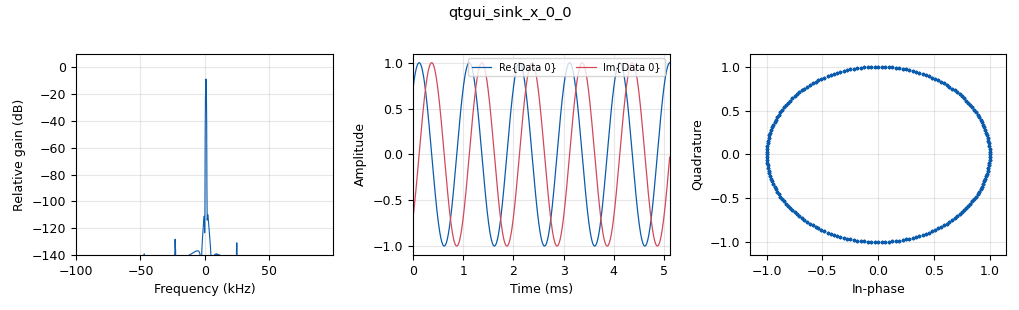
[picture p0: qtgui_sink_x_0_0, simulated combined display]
options:
  parameters:
    generate_options: qt_gui
    id: signal_source
    output_language: python
    title: signal_source
  states: {}

blocks:
- name: samp_rate
  id: variable
  parameters:
    value: 200e3
  states: {}
- name: var_freq
  id: variable_qtgui_range
  parameters:
    start: '-200e3'
    step: '1'
    stop: 200e3
    value: 1e3
  states: {}
- name: volume
  id: variable_qtgui_range
  parameters:
    start: '0'
    step: '0.01'
    stop: '1'
    value: '0.2'
  states: {}
- name: analog_const_source_x_0
  id: analog_const_source_x
  parameters:
    const: volume
    type: float
  states: {}
- name: analog_sig_source_x_0
  id: analog_sig_source_x
  parameters:
    amp: '1'
    freq: var_freq
    offset: '0'
    phase: '0'
    samp_rate: samp_rate
    type: complex
    waveform: analog.GR_COS_WAVE
  states: {}
- name: audio_sink_0
  id: audio_sink
  parameters:
    samp_rate: '48000'
  states: {}
- name: blocks_complex_to_real_0
  id: blocks_complex_to_real
  parameters: {}
  states: {}
- name: blocks_multiply_xx_0
  id: blocks_multiply_xx
  parameters:
    type: float
  states: {}
- name: blocks_throttle_0
  id: blocks_throttle
  parameters:
    samples_per_second: samp_rate
    type: complex
  states: {}
- name: qtgui_sink_x_0_0
  id: qtgui_sink_x
  parameters:
    bw: samp_rate
    fc: '0'
    fftsize: '1024'
    type: complex
  states: {}

connections:
- [analog_const_source_x_0, '0', blocks_multiply_xx_0, '1']
- [analog_sig_source_x_0, '0', blocks_throttle_0, '0']
- [blocks_complex_to_real_0, '0', blocks_multiply_xx_0, '0']
- [blocks_multiply_xx_0, '0', audio_sink_0, '0']
- [blocks_throttle_0, '0', blocks_complex_to_real_0, '0']
- [blocks_throttle_0, '0', qtgui_sink_x_0_0, '0']

metadata:
  file_format: 1
